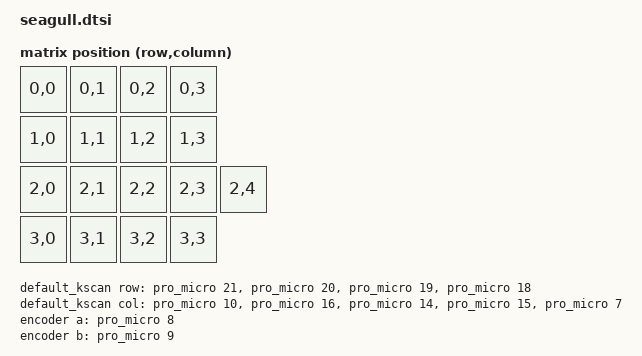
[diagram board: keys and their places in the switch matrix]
#include <dt-bindings/zmk/matrix_transform.h>
#include <physical_layouts.dtsi>

/
{
    chosen {
        zephyr,display = &oled;
        zmk,kscan = &default_kscan;
        zmk,matrix_transform = &default_transform;
        zmk,physical-layout = &physical_layout0;
    };

    /* Local fallback node for encoder physical attributes.
     * Some environments may not provide a global
     * `encoder_physical_attrs` label; provide a local one so
     * the physical layout can reference it safely.
     */
    encoder_physical_attrs_local: encoder_physical_attrs_local {
        compatible = "zmk,physical-encoder";
        /* Positional values are supplied where the phandle is used. */
    };

    /* ================= MATRIX TRANSFORM ================= */
    default_transform: keymap_transform_0 {
        compatible = "zmk,matrix-transform";
        columns = <5>;
        rows = <4>;

        map = <
            RC(0,0) RC(0,1) RC(0,2) RC(0,3)
            RC(1,0) RC(1,1) RC(1,2) RC(1,3)
            RC(2,0) RC(2,1) RC(2,2) RC(2,3) RC(2,4)
            RC(3,0) RC(3,1) RC(3,2) RC(3,3)
        >;
    };

    /* ================= PHYSICAL LAYOUT ================= */
    physical_layout0: physical_layout_0 {
        compatible = "zmk,physical-layout";
        display-name = "Default Layout";

        transform = <&default_transform>;

        keys =
            /* row 0 */
            <&key_physical_attrs 100 100   0   0 0 0 0>,
            <&key_physical_attrs 100 100 100   0 0 0 0>,
            <&key_physical_attrs 100 100 200   0 0 0 0>,
            <&key_physical_attrs 100 100 300   0 0 0 0>,

            /* row 1 */
            <&key_physical_attrs 100 100   0 100 0 0 0>,
            <&key_physical_attrs 100 100 100 100 0 0 0>,
            <&key_physical_attrs 100 100 200 100 0 0 0>,
            <&key_physical_attrs 100 100 300 100 0 0 0>,

            /* row 2 (encoder push di kolom 4) */
            <&key_physical_attrs 100 100   0 200 0 0 0>,
            <&key_physical_attrs 100 100 100 200 0 0 0>,
            <&key_physical_attrs 100 100 200 200 0 0 0>,
            <&key_physical_attrs 100 100 300 200 0 0 0>,
            <&key_physical_attrs 100 100 400 200 0 0 0>,

            /* row 3 */
            <&key_physical_attrs 100 100   0 300 0 0 0>,
            <&key_physical_attrs 100 100 100 300 0 0 0>,
            <&key_physical_attrs 100 100 200 300 0 0 0>,
            <&key_physical_attrs 100 100 300 300 0 0 0>;

        /* Use the local encoder physical attrs node as a safe fallback.
         * If your environment provides &encoder_physical_attrs globally,
         * you can change this to use that label instead.
         */
        encoders =
            <&encoder_physical_attrs_local 60 60 450 150 0>;
    };

    /* ================= KSCAN ================= */
    default_kscan: kscan {
        compatible = "zmk,kscan-gpio-matrix";
        label = "default_kscan";
        diode-direction = "col2row";
        wakeup-source;

        row-gpios =
            <&pro_micro 21 (GPIO_ACTIVE_HIGH | GPIO_PULL_DOWN)>,
            <&pro_micro 20 (GPIO_ACTIVE_HIGH | GPIO_PULL_DOWN)>,
            <&pro_micro 19 (GPIO_ACTIVE_HIGH | GPIO_PULL_DOWN)>,
            <&pro_micro 18 (GPIO_ACTIVE_HIGH | GPIO_PULL_DOWN)>;

        col-gpios =
            <&pro_micro 10 (GPIO_ACTIVE_HIGH | GPIO_PULL_DOWN)>,
            <&pro_micro 16 (GPIO_ACTIVE_HIGH | GPIO_PULL_DOWN)>,
            <&pro_micro 14 (GPIO_ACTIVE_HIGH | GPIO_PULL_DOWN)>,
            <&pro_micro 15 (GPIO_ACTIVE_HIGH | GPIO_PULL_DOWN)>,
            <&pro_micro  7 (GPIO_ACTIVE_HIGH | GPIO_PULL_DOWN)>;
    };

    /* ================= ENCODER ================= */
    encoder: encoder {
        compatible = "alps,ec11";
        a-gpios = <&pro_micro 8 (GPIO_ACTIVE_HIGH | GPIO_PULL_UP)>;
        b-gpios = <&pro_micro 9 (GPIO_ACTIVE_HIGH | GPIO_PULL_UP)>;
        steps = <48>;
        status = "okay";
    };

    sensors: sensors {
        compatible = "zmk,keymap-sensors";
        sensors = <&encoder>;
        triggers-per-rotation = <12>;
    };
};

/* ================= I2C + OLED ================= */
&pro_micro_i2c {
    status = "okay";

    oled: ssd1306@3c {
        compatible = "solomon,ssd1306fb";
        reg = <0x3c>;

        width = <128>;
        height = <32>;

        segment-offset = <0>;
        page-offset = <0>;
        display-offset = <0>;
        multiplex-ratio = <31>;

        com-invdir;
        segment-remap;
        com-sequential;

        prechargep = <0x22>;
    };
};
